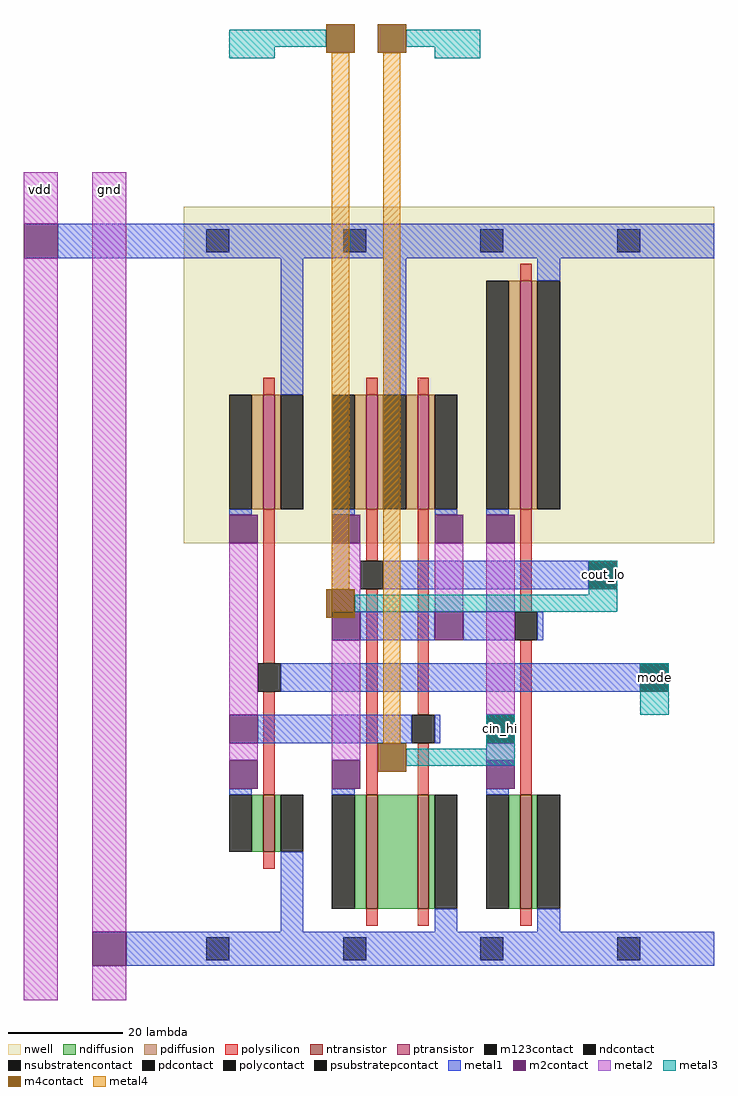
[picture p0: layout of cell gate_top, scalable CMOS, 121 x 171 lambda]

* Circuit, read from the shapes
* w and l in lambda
.subckt gate_top cin_hi cout_lo mode vdd gnd
M1 gnd mode gtile_0/modeb gnd nfet w=10 l=2
M2 n1 cout_lo gtile_0/gn gnd nfet w=20 l=2
M3 gnd gtile_0/modeb n1 gnd nfet w=20 l=2
M4 gnd gtile_0/gn cin_hi gnd nfet w=20 l=2
M5 vdd mode gtile_0/modeb vdd pfet w=20 l=2
M6 vdd cout_lo gtile_0/gn vdd pfet w=20 l=2
M7 gtile_0/gn gtile_0/modeb vdd vdd pfet w=20 l=2
M8 vdd gtile_0/gn cin_hi vdd pfet w=40 l=2
.ends

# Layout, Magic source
magic
tech scmos
<< nwell >>
rect 0 78 93 133
<< metal1 >>
rect -22 124 93 130
rect -10 0 93 6
<< m2contact >>
rect -28 124 -22 130
rect -16 0 -10 6
<< metal2 >>
rect -28 130 -22 139
rect -28 -6 -22 124
rect -16 6 -10 139
rect -16 -6 -10 0
<< metal3 >>
rect 8 161 25 164
rect 8 159 16 161
rect 39 161 52 164
rect 44 159 52 161
rect 71 65 76 71
rect 30 62 76 65
rect 80 44 85 53
rect 53 38 58 44
rect 39 35 58 38
<< m4contact >>
rect 25 160 30 165
rect 34 160 39 165
rect 25 61 30 66
rect 34 34 39 39
<< metal4 >>
rect 26 66 29 160
rect 35 39 38 160
use gtile  gtile_0
transform 1 0 0 0 1 0
box 0 0 93 133
<< labels >>
rlabel metal3 55 39 56 44 0 cin_hi
port 1 nsew
rlabel metal3 73 66 74 71 0 cout_lo
port 2 nsew
rlabel metal3 82 48 83 53 0 mode
port 3 nsew
rlabel metal2 -28 133 -22 139 0 vdd
port 4 nsew
rlabel metal2 -16 133 -10 139 0 gnd
port 5 nsew
<< end >>

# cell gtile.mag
magic
tech scmos
<< nwell >>
rect 0 74 93 133
<< ntransistor >>
rect 14 20 16 30
rect 32 10 34 30
rect 41 10 43 30
rect 59 10 61 30
<< ptransistor >>
rect 14 80 16 100
rect 32 80 34 100
rect 41 80 43 100
rect 59 80 61 120
<< ndiffusion >>
rect 12 20 14 30
rect 16 20 17 30
rect 30 10 32 30
rect 34 10 41 30
rect 43 10 44 30
rect 57 10 59 30
rect 61 10 62 30
<< pdiffusion >>
rect 12 80 14 100
rect 16 80 17 100
rect 30 80 32 100
rect 34 80 35 100
rect 39 80 41 100
rect 43 80 44 100
rect 57 80 59 120
rect 61 80 62 120
<< ndcontact >>
rect 8 20 12 30
rect 17 20 21 30
rect 26 10 30 30
rect 44 10 48 30
rect 53 10 57 30
rect 62 10 66 30
<< pdcontact >>
rect 8 80 12 100
rect 17 80 21 100
rect 26 80 30 100
rect 35 80 39 100
rect 44 80 48 100
rect 53 80 57 120
rect 62 80 66 120
<< psubstratepcontact >>
rect 4 1 8 5
rect 28 1 32 5
rect 52 1 56 5
rect 76 1 80 5
<< nsubstratencontact >>
rect 4 125 8 129
rect 28 125 32 129
rect 52 125 56 129
rect 76 125 80 129
<< polysilicon >>
rect 59 120 61 123
rect 14 100 16 103
rect 32 100 34 103
rect 41 100 43 103
rect 14 53 16 80
rect 32 71 34 80
rect 14 30 16 48
rect 32 30 34 66
rect 41 44 43 80
rect 59 62 61 80
rect 41 30 43 39
rect 59 30 61 57
rect 14 17 16 20
rect 32 7 34 10
rect 41 7 43 10
rect 59 7 61 10
<< polycontact >>
rect 31 66 35 71
rect 13 48 17 53
rect 58 57 62 62
rect 40 39 44 44
<< metal1 >>
rect 0 129 93 130
rect 0 125 4 129
rect 8 125 28 129
rect 32 125 52 129
rect 56 125 76 129
rect 80 125 93 129
rect 0 124 93 125
rect 17 100 21 124
rect 35 100 39 124
rect 62 120 66 124
rect 8 79 12 80
rect 26 79 30 80
rect 44 79 48 80
rect 53 79 57 80
rect 35 66 71 71
rect 31 57 44 62
rect 49 57 58 62
rect 62 57 63 62
rect 17 48 80 53
rect 13 39 40 44
rect 44 39 45 44
rect 8 30 12 31
rect 26 30 30 31
rect 53 30 57 31
rect 17 6 21 20
rect 44 6 48 10
rect 62 6 66 10
rect 0 5 93 6
rect 0 1 4 5
rect 8 1 28 5
rect 32 1 52 5
rect 56 1 76 5
rect 80 1 93 5
rect 0 0 93 1
<< m2contact >>
rect 8 74 13 79
rect 26 74 31 79
rect 44 74 49 79
rect 53 74 58 79
rect 26 57 31 62
rect 44 57 49 62
rect 8 39 13 44
rect 8 31 13 36
rect 26 31 31 36
rect 53 31 58 36
<< metal2 >>
rect 8 44 13 74
rect 8 36 13 39
rect 26 62 31 74
rect 44 62 49 74
rect 26 36 31 57
rect 53 44 58 74
rect 53 36 58 39
<< m123contact >>
rect 71 66 76 71
rect 80 48 85 53
rect 53 39 58 44
<< labels >>
rlabel metal1 53 39 55 44 0 cin_hi
port 1 nsew
rlabel metal1 31 66 33 71 0 cout_lo
port 2 nsew
rlabel metal1 13 48 15 53 0 mode
port 3 nsew
rlabel m2contact 26 57 28 62 0 gn
rlabel m2contact 8 39 10 44 0 modeb
rlabel metal1 0 124 2 130 0 vdd
port 4 nsew
rlabel metal1 0 0 2 6 0 gnd
port 5 nsew
<< end >>
